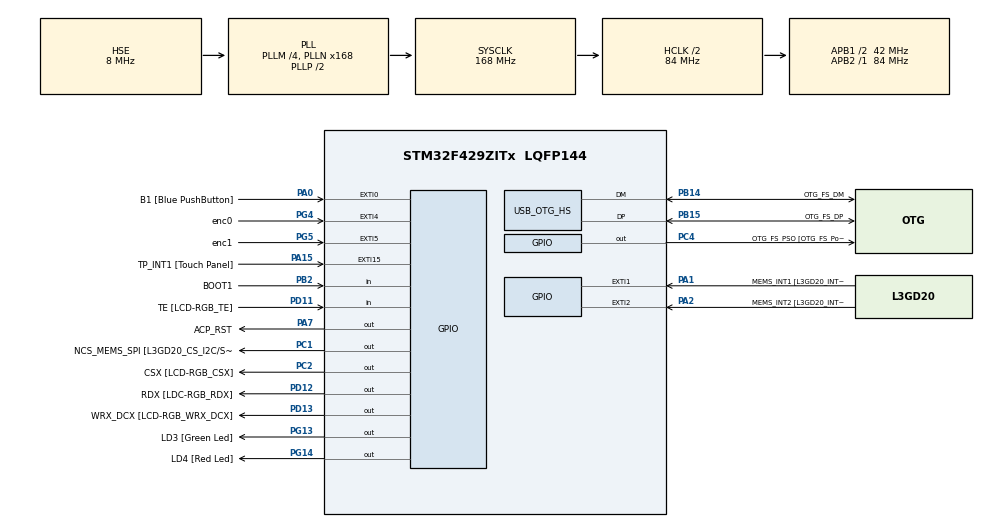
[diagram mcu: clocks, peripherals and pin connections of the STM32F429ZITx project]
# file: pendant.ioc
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Mcu.Family=STM32F4
Mcu.Name=STM32F429ZITx
Mcu.Package=LQFP144
NVIC.EXTI4_IRQn=true\:0\:0\:false\:false\:true\:true\:true
NVIC.EXTI9_5_IRQn=true\:0\:0\:false\:false\:true\:true\:true
NVIC.OTG_HS_IRQn=true\:0\:0\:false\:false\:true\:false\:true
NVIC.PriorityGroup=NVIC_PRIORITYGROUP_0
PA0/WKUP.GPIO_Label=B1 [Blue PushButton]
PA0/WKUP.GPIO_ModeDefaultEXTI=GPIO_MODE_EVT_RISING
PA0/WKUP.GPIO_PuPd=GPIO_NOPULL
PA0/WKUP.Signal=GPXTI0
PA1.GPIO_Label=MEMS_INT1 [L3GD20_INT1]
PA1.GPIO_ModeDefaultEXTI=GPIO_MODE_EVT_RISING
PA1.GPIO_PuPd=GPIO_NOPULL
PA1.Signal=GPXTI1
PA10.GPIO_Label=STLINK_TX [STM32F103CBT6_PA2]
PA10.Signal=USART1_RX
PA11.GPIO_Label=R4
PA11.GPIO_Mode=GPIO_MODE_AF_PP
PA11.GPIO_PuPd=GPIO_NOPULL
PA11.GPIO_Speed=GPIO_SPEED_FREQ_LOW
PA11.Signal=LTDC_R4
PA12.GPIO_Label=R5
PA12.GPIO_Mode=GPIO_MODE_AF_PP
PA12.GPIO_PuPd=GPIO_NOPULL
PA12.GPIO_Speed=GPIO_SPEED_FREQ_LOW
PA12.Signal=LTDC_R5
PA13.GPIO_Label=SWDIO
PA13.Signal=SYS_JTMS-SWDIO
PA14.GPIO_Label=SWCLK
PA14.Signal=SYS_JTCK-SWCLK
PA15.GPIO_Label=TP_INT1 [Touch Panel]
PA15.GPIO_ModeDefaultEXTI=GPIO_MODE_EVT_RISING
PA15.GPIO_PuPd=GPIO_NOPULL
PA15.Signal=GPXTI15
PA2.GPIO_Label=MEMS_INT2 [L3GD20_INT2]
PA2.GPIO_ModeDefaultEXTI=GPIO_MODE_EVT_RISING
PA2.GPIO_PuPd=GPIO_NOPULL
PA2.Signal=GPXTI2
PA3.GPIO_Label=B5
PA3.GPIO_Mode=GPIO_MODE_AF_PP
PA3.GPIO_PuPd=GPIO_NOPULL
PA3.GPIO_Speed=GPIO_SPEED_FREQ_LOW
PA3.Signal=LTDC_B5
PA4.GPIO_Label=VSYNC
PA4.GPIO_Mode=GPIO_MODE_AF_PP
PA4.GPIO_PuPd=GPIO_NOPULL
PA4.GPIO_Speed=GPIO_SPEED_FREQ_LOW
PA4.Signal=LTDC_VSYNC
PA6.GPIO_Label=G2
PA6.GPIO_Mode=GPIO_MODE_AF_PP
PA6.GPIO_PuPd=GPIO_NOPULL
PA6.GPIO_Speed=GPIO_SPEED_FREQ_LOW
PA6.Signal=LTDC_G2
PA7.GPIO_Label=ACP_RST
PA7.GPIO_Mode=GPIO_MODE_OUTPUT_PP
PA7.GPIO_PuPd=GPIO_NOPULL
PA7.GPIO_Speed=GPIO_SPEED_FREQ_LOW
PA7.Signal=GPIO_Output
PA8.GPIO_Label=I2C3_SCL [ACP/RF_SCL]
PA8.GPIO_Mode=GPIO_MODE_AF_OD
PA8.GPIO_PuPd=GPIO_NOPULL
PA8.GPIO_Speed=GPIO_SPEED_FREQ_LOW
PA8.Signal=I2C3_SCL
PA9.GPIO_Label=STLINK_RX [STM32F103CBT6_PA3]
PA9.Signal=USART1_TX
PB0.GPIO_Label=R3
PB0.GPIO_Mode=GPIO_MODE_AF_PP
PB0.GPIO_PuPd=GPIO_NOPULL
PB0.GPIO_Speed=GPIO_SPEED_FREQ_LOW
PB0.Signal=LTDC_R3
PB1.GPIO_Label=R6
PB1.GPIO_Mode=GPIO_MODE_AF_PP
PB1.GPIO_PuPd=GPIO_NOPULL
PB1.GPIO_Speed=GPIO_SPEED_FREQ_LOW
PB1.Signal=LTDC_R6
PB10.GPIO_Label=G4
PB10.GPIO_Mode=GPIO_MODE_AF_PP
PB10.GPIO_PuPd=GPIO_NOPULL
PB10.GPIO_Speed=GPIO_SPEED_FREQ_LOW
PB10.Signal=LTDC_G4
PB11.GPIO_Label=G5
PB11.GPIO_Mode=GPIO_MODE_AF_PP
PB11.GPIO_PuPd=GPIO_NOPULL
PB11.GPIO_Speed=GPIO_SPEED_FREQ_LOW
PB11.Signal=LTDC_G5
PB12.GPIO_Label=OTG_FS_ID
PB12.GPIO_Mode=GPIO_MODE_AF_PP
PB12.GPIO_PuPd=GPIO_NOPULL
PB12.GPIO_Speed=GPIO_SPEED_FREQ_LOW
PB12.Signal=USB_OTG_HS_ID
PB13.GPIO_Label=VBUS_FS
PB13.GPIO_Mode=GPIO_MODE_INPUT
PB13.GPIO_PuPd=GPIO_NOPULL
PB13.Signal=USB_OTG_HS_VBUS
PB14.GPIO_Label=OTG_FS_DM
PB14.GPIO_Mode=GPIO_MODE_AF_PP
PB14.GPIO_PuPd=GPIO_NOPULL
PB14.GPIO_Speed=GPIO_SPEED_FREQ_LOW
PB14.Mode=Device_Only_FS
PB14.Signal=USB_OTG_HS_DM
PB15.GPIO_Label=OTG_FS_DP
PB15.GPIO_Mode=GPIO_MODE_AF_PP
PB15.GPIO_PuPd=GPIO_NOPULL
PB15.GPIO_Speed=GPIO_SPEED_FREQ_LOW
PB15.Mode=Device_Only_FS
PB15.Signal=USB_OTG_HS_DP
PB2/BOOT1.GPIO_Label=BOOT1
PB2/BOOT1.GPIO_Mode=GPIO_MODE_INPUT
PB2/BOOT1.GPIO_PuPd=GPIO_NOPULL
PB2/BOOT1.Signal=GPIO_Input
PB5.GPIO_Label=SDCKE1
PB5.GPIO_Mode=GPIO_MODE_AF_PP
PB5.GPIO_PuPd=GPIO_NOPULL
PB5.GPIO_Speed=GPIO_SPEED_FREQ_VERY_HIGH
PB5.Signal=FMC_SDCKE1
PB6.GPIO_Label=SDNE1 [SDRAM_CS]
PB6.GPIO_Mode=GPIO_MODE_AF_PP
PB6.GPIO_PuPd=GPIO_NOPULL
PB6.GPIO_Speed=GPIO_SPEED_FREQ_VERY_HIGH
PB6.Signal=FMC_SDNE1
PB8.GPIO_Label=B6
PB8.GPIO_Mode=GPIO_MODE_AF_PP
PB8.GPIO_PuPd=GPIO_NOPULL
PB8.GPIO_Speed=GPIO_SPEED_FREQ_LOW
PB8.Signal=LTDC_B6
PB9.GPIO_Label=B7
PB9.GPIO_Mode=GPIO_MODE_AF_PP
PB9.GPIO_PuPd=GPIO_NOPULL
PB9.GPIO_Speed=GPIO_SPEED_FREQ_LOW
PB9.Signal=LTDC_B7
PC0.GPIO_Label=SDNWE
PC0.GPIO_Mode=GPIO_MODE_AF_PP
PC0.GPIO_PuPd=GPIO_NOPULL
PC0.GPIO_Speed=GPIO_SPEED_FREQ_VERY_HIGH
PC0.Signal=FMC_SDNWE
PC1.GPIO_Label=NCS_MEMS_SPI [L3GD20_CS_I2C/SPI]
PC1.GPIO_Mode=GPIO_MODE_OUTPUT_PP
PC1.GPIO_PuPd=GPIO_NOPULL
PC1.GPIO_Speed=GPIO_SPEED_FREQ_LOW
PC1.Signal=GPIO_Output
PC10.GPIO_Label=R2
PC10.GPIO_Mode=GPIO_MODE_AF_PP
PC10.GPIO_PuPd=GPIO_NOPULL
PC10.GPIO_Speed=GPIO_SPEED_FREQ_LOW
PC10.Signal=LTDC_R2
PC14/OSC32_IN.GPIO_Label=PC14-OSC32_IN
PC14/OSC32_IN.Signal=RCC_OSC32_IN
PC15/OSC32_OUT.GPIO_Label=PC15-OSC32_OUT
PC15/OSC32_OUT.Signal=RCC_OSC32_OUT
PC2.GPIO_Label=CSX [LCD-RGB_CSX]
PC2.GPIO_Mode=GPIO_MODE_OUTPUT_PP
PC2.GPIO_PuPd=GPIO_NOPULL
PC2.GPIO_Speed=GPIO_SPEED_FREQ_LOW
PC2.Signal=GPIO_Output
PC4.GPIO_Label=OTG_FS_PSO [OTG_FS_PowerSwitchOn]
PC4.GPIO_Mode=GPIO_MODE_OUTPUT_PP
PC4.GPIO_PuPd=GPIO_NOPULL
PC4.GPIO_Speed=GPIO_SPEED_FREQ_LOW
PC4.Signal=GPIO_Output
PC6.GPIO_Label=HSYNC
PC6.GPIO_Mode=GPIO_MODE_AF_PP
PC6.GPIO_PuPd=GPIO_NOPULL
PC6.GPIO_Speed=GPIO_SPEED_FREQ_LOW
PC6.Signal=LTDC_HSYNC
PC7.GPIO_Label=G6
PC7.GPIO_Mode=GPIO_MODE_AF_PP
PC7.GPIO_PuPd=GPIO_NOPULL
PC7.GPIO_Speed=GPIO_SPEED_FREQ_LOW
PC7.Signal=LTDC_G6
PC9.GPIO_Label=I2C3_SDA [ACP/RF_SDA]
PC9.GPIO_Mode=GPIO_MODE_AF_OD
PC9.GPIO_PuPd=GPIO_NOPULL
PC9.GPIO_Speed=GPIO_SPEED_FREQ_LOW
PC9.Signal=I2C3_SDA
PD0.GPIO_Label=D2
PD0.GPIO_Mode=GPIO_MODE_AF_PP
PD0.GPIO_PuPd=GPIO_NOPULL
PD0.GPIO_Speed=GPIO_SPEED_FREQ_VERY_HIGH
PD0.Signal=FMC_D2_DA2
PD1.GPIO_Label=D3
PD1.GPIO_Mode=GPIO_MODE_AF_PP
PD1.GPIO_PuPd=GPIO_NOPULL
PD1.GPIO_Speed=GPIO_SPEED_FREQ_VERY_HIGH
PD1.Signal=FMC_D3_DA3
PD10.GPIO_Label=D15
PD10.GPIO_Mode=GPIO_MODE_AF_PP
PD10.GPIO_PuPd=GPIO_NOPULL
PD10.GPIO_Speed=GPIO_SPEED_FREQ_VERY_HIGH
PD10.Signal=FMC_D15_DA15
PD11.GPIO_Label=TE [LCD-RGB_TE]
PD11.GPIO_Mode=GPIO_MODE_INPUT
PD11.GPIO_PuPd=GPIO_NOPULL
PD11.Signal=GPIO_Input
PD12.GPIO_Label=RDX [LDC-RGB_RDX]
PD12.GPIO_Mode=GPIO_MODE_OUTPUT_PP
PD12.GPIO_PuPd=GPIO_NOPULL
PD12.GPIO_Speed=GPIO_SPEED_FREQ_LOW
PD12.Signal=GPIO_Output
PD13.GPIO_Label=WRX_DCX [LCD-RGB_WRX_DCX]
PD13.GPIO_Mode=GPIO_MODE_OUTPUT_PP
PD13.GPIO_PuPd=GPIO_NOPULL
PD13.GPIO_Speed=GPIO_SPEED_FREQ_LOW
PD13.Signal=GPIO_Output
PD14.GPIO_Label=D0
PD14.GPIO_Mode=GPIO_MODE_AF_PP
PD14.GPIO_PuPd=GPIO_NOPULL
PD14.GPIO_Speed=GPIO_SPEED_FREQ_VERY_HIGH
PD14.Signal=FMC_D0_DA0
PD15.GPIO_Label=D1
PD15.GPIO_Mode=GPIO_MODE_AF_PP
PD15.GPIO_PuPd=GPIO_NOPULL
PD15.GPIO_Speed=GPIO_SPEED_FREQ_VERY_HIGH
PD15.Signal=FMC_D1_DA1
PD3.GPIO_Label=G7
PD3.GPIO_Mode=GPIO_MODE_AF_PP
PD3.GPIO_PuPd=GPIO_NOPULL
PD3.GPIO_Speed=GPIO_SPEED_FREQ_LOW
PD3.Signal=LTDC_G7
PD6.GPIO_Label=B2
PD6.GPIO_Mode=GPIO_MODE_AF_PP
PD6.GPIO_PuPd=GPIO_NOPULL
PD6.GPIO_Speed=GPIO_SPEED_FREQ_LOW
PD6.Signal=LTDC_B2
PD8.GPIO_Label=D13
PD8.GPIO_Mode=GPIO_MODE_AF_PP
PD8.GPIO_PuPd=GPIO_NOPULL
PD8.GPIO_Speed=GPIO_SPEED_FREQ_VERY_HIGH
PD8.Signal=FMC_D13_DA13
PD9.GPIO_Label=D14
PD9.GPIO_Mode=GPIO_MODE_AF_PP
PD9.GPIO_PuPd=GPIO_NOPULL
PD9.GPIO_Speed=GPIO_SPEED_FREQ_VERY_HIGH
PD9.Signal=FMC_D14_DA14
PE0.GPIO_Label=NBL0 [SDRAM_LDQM]
PE0.GPIO_Mode=GPIO_MODE_AF_PP
PE0.GPIO_PuPd=GPIO_NOPULL
PE0.GPIO_Speed=GPIO_SPEED_FREQ_VERY_HIGH
PE0.Signal=FMC_NBL0
PE1.GPIO_Label=NBL1 [SDRAM_UDQM]
PE1.GPIO_Mode=GPIO_MODE_AF_PP
PE1.GPIO_PuPd=GPIO_NOPULL
PE1.GPIO_Speed=GPIO_SPEED_FREQ_VERY_HIGH
PE1.Signal=FMC_NBL1
PE10.GPIO_Label=D7
PE10.GPIO_Mode=GPIO_MODE_AF_PP
PE10.GPIO_PuPd=GPIO_NOPULL
PE10.GPIO_Speed=GPIO_SPEED_FREQ_VERY_HIGH
PE10.Signal=FMC_D7_DA7
PE11.GPIO_Label=D8
PE11.GPIO_Mode=GPIO_MODE_AF_PP
PE11.GPIO_PuPd=GPIO_NOPULL
PE11.GPIO_Speed=GPIO_SPEED_FREQ_VERY_HIGH
PE11.Signal=FMC_D8_DA8
PE12.GPIO_Label=D9
PE12.GPIO_Mode=GPIO_MODE_AF_PP
PE12.GPIO_PuPd=GPIO_NOPULL
PE12.GPIO_Speed=GPIO_SPEED_FREQ_VERY_HIGH
PE12.Signal=FMC_D9_DA9
PE13.GPIO_Label=D10
PE13.GPIO_Mode=GPIO_MODE_AF_PP
PE13.GPIO_PuPd=GPIO_NOPULL
PE13.GPIO_Speed=GPIO_SPEED_FREQ_VERY_HIGH
PE13.Signal=FMC_D10_DA10
PE14.GPIO_Label=D11
PE14.GPIO_Mode=GPIO_MODE_AF_PP
PE14.GPIO_PuPd=GPIO_NOPULL
PE14.GPIO_Speed=GPIO_SPEED_FREQ_VERY_HIGH
PE14.Signal=FMC_D11_DA11
PE15.GPIO_Label=D12
PE15.GPIO_Mode=GPIO_MODE_AF_PP
PE15.GPIO_PuPd=GPIO_NOPULL
PE15.GPIO_Speed=GPIO_SPEED_FREQ_VERY_HIGH
PE15.Signal=FMC_D12_DA12
PE7.GPIO_Label=D4
PE7.GPIO_Mode=GPIO_MODE_AF_PP
PE7.GPIO_PuPd=GPIO_NOPULL
PE7.GPIO_Speed=GPIO_SPEED_FREQ_VERY_HIGH
PE7.Signal=FMC_D4_DA4
PE8.GPIO_Label=D5
PE8.GPIO_Mode=GPIO_MODE_AF_PP
PE8.GPIO_PuPd=GPIO_NOPULL
PE8.GPIO_Speed=GPIO_SPEED_FREQ_VERY_HIGH
PE8.Signal=FMC_D5_DA5
PE9.GPIO_Label=D6
PE9.GPIO_Mode=GPIO_MODE_AF_PP
PE9.GPIO_PuPd=GPIO_NOPULL
PE9.GPIO_Speed=GPIO_SPEED_FREQ_VERY_HIGH
PE9.Signal=FMC_D6_DA6
PF0.GPIO_Label=A0
PF0.GPIO_Mode=GPIO_MODE_AF_PP
PF0.GPIO_PuPd=GPIO_NOPULL
PF0.GPIO_Speed=GPIO_SPEED_FREQ_VERY_HIGH
PF0.Signal=FMC_A0
PF1.GPIO_Label=A1
PF1.GPIO_Mode=GPIO_MODE_AF_PP
PF1.GPIO_PuPd=GPIO_NOPULL
PF1.GPIO_Speed=GPIO_SPEED_FREQ_VERY_HIGH
PF1.Signal=FMC_A1
PF10.GPIO_Label=ENABLE [LCD-RGB_ENABLE]
PF10.GPIO_Mode=GPIO_MODE_AF_PP
PF10.GPIO_PuPd=GPIO_NOPULL
PF10.GPIO_Speed=GPIO_SPEED_FREQ_LOW
PF10.Signal=LTDC_DE
PF11.GPIO_Label=SDNRAS
PF11.GPIO_Mode=GPIO_MODE_AF_PP
PF11.GPIO_PuPd=GPIO_NOPULL
PF11.GPIO_Speed=GPIO_SPEED_FREQ_VERY_HIGH
PF11.Signal=FMC_SDNRAS
PF12.GPIO_Label=A6
PF12.GPIO_Mode=GPIO_MODE_AF_PP
PF12.GPIO_PuPd=GPIO_NOPULL
PF12.GPIO_Speed=GPIO_SPEED_FREQ_VERY_HIGH
PF12.Signal=FMC_A6
PF13.GPIO_Label=A7
PF13.GPIO_Mode=GPIO_MODE_AF_PP
PF13.GPIO_PuPd=GPIO_NOPULL
PF13.GPIO_Speed=GPIO_SPEED_FREQ_VERY_HIGH
PF13.Signal=FMC_A7
PF14.GPIO_Label=A8
PF14.GPIO_Mode=GPIO_MODE_AF_PP
PF14.GPIO_PuPd=GPIO_NOPULL
PF14.GPIO_Speed=GPIO_SPEED_FREQ_VERY_HIGH
PF14.Signal=FMC_A8
PF15.GPIO_Label=A9
PF15.GPIO_Mode=GPIO_MODE_AF_PP
PF15.GPIO_PuPd=GPIO_NOPULL
PF15.GPIO_Speed=GPIO_SPEED_FREQ_VERY_HIGH
PF15.Signal=FMC_A9
PF2.GPIO_Label=A2
PF2.GPIO_Mode=GPIO_MODE_AF_PP
PF2.GPIO_PuPd=GPIO_NOPULL
PF2.GPIO_Speed=GPIO_SPEED_FREQ_VERY_HIGH
PF2.Signal=FMC_A2
PF3.GPIO_Label=A3
PF3.GPIO_Mode=GPIO_MODE_AF_PP
PF3.GPIO_PuPd=GPIO_NOPULL
PF3.GPIO_Speed=GPIO_SPEED_FREQ_VERY_HIGH
PF3.Signal=FMC_A3
PF4.GPIO_Label=A4
PF4.GPIO_Mode=GPIO_MODE_AF_PP
PF4.GPIO_PuPd=GPIO_NOPULL
PF4.GPIO_Speed=GPIO_SPEED_FREQ_VERY_HIGH
PF4.Signal=FMC_A4
PF5.GPIO_Label=A5
PF5.GPIO_Mode=GPIO_MODE_AF_PP
PF5.GPIO_PuPd=GPIO_NOPULL
PF5.GPIO_Speed=GPIO_SPEED_FREQ_VERY_HIGH
PF5.Signal=FMC_A5
PF7.GPIO_Label=SPI5_SCK [L3GD20_SCL/SPC]
PF7.GPIO_Mode=GPIO_MODE_AF_PP
PF7.GPIO_PuPd=GPIO_NOPULL
PF7.GPIO_Speed=GPIO_SPEED_FREQ_LOW
PF7.Signal=SPI5_SCK
PF8.GPIO_Label=SPI5_MISO [L3GD20_SDO]
PF8.GPIO_Mode=GPIO_MODE_AF_PP
PF8.GPIO_PuPd=GPIO_NOPULL
PF8.GPIO_Speed=GPIO_SPEED_FREQ_LOW
PF8.Signal=SPI5_MISO
PF9.GPIO_Label=SPI5_MOSI [L3GD20_SDA/SDI/SDO]
PF9.GPIO_Mode=GPIO_MODE_AF_PP
PF9.GPIO_PuPd=GPIO_NOPULL
PF9.GPIO_Speed=GPIO_SPEED_FREQ_LOW
PF9.Signal=SPI5_MOSI
PG0.GPIO_Label=A10
PG0.GPIO_Mode=GPIO_MODE_AF_PP
PG0.GPIO_PuPd=GPIO_NOPULL
PG0.GPIO_Speed=GPIO_SPEED_FREQ_VERY_HIGH
PG0.Signal=FMC_A10
PG1.GPIO_Label=A11
PG1.GPIO_Mode=GPIO_MODE_AF_PP
PG1.GPIO_PuPd=GPIO_NOPULL
PG1.GPIO_Speed=GPIO_SPEED_FREQ_VERY_HIGH
PG1.Signal=FMC_A11
PG10.GPIO_Label=G3
PG10.GPIO_Mode=GPIO_MODE_AF_PP
PG10.GPIO_PuPd=GPIO_NOPULL
PG10.GPIO_Speed=GPIO_SPEED_FREQ_LOW
PG10.Signal=LTDC_G3
PG11.GPIO_Label=B3
PG11.GPIO_Mode=GPIO_MODE_AF_PP
PG11.GPIO_PuPd=GPIO_NOPULL
PG11.GPIO_Speed=GPIO_SPEED_FREQ_LOW
PG11.Signal=LTDC_B3
PG12.GPIO_Label=B4
PG12.GPIO_Mode=GPIO_MODE_AF_PP
PG12.GPIO_PuPd=GPIO_NOPULL
PG12.GPIO_Speed=GPIO_SPEED_FREQ_LOW
PG12.Signal=LTDC_B4
PG13.GPIO_Label=LD3 [Green Led]
PG13.GPIO_Mode=GPIO_MODE_OUTPUT_PP
PG13.GPIO_PuPd=GPIO_NOPULL
PG13.GPIO_Speed=GPIO_SPEED_FREQ_LOW
PG13.Signal=GPIO_Output
PG14.GPIO_Label=LD4 [Red Led]
PG14.GPIO_Mode=GPIO_MODE_OUTPUT_PP
PG14.GPIO_PuPd=GPIO_NOPULL
PG14.GPIO_Speed=GPIO_SPEED_FREQ_LOW
PG14.Signal=GPIO_Output
PG15.GPIO_Label=SDNCAS
PG15.GPIO_Mode=GPIO_MODE_AF_PP
PG15.GPIO_PuPd=GPIO_NOPULL
PG15.GPIO_Speed=GPIO_SPEED_FREQ_VERY_HIGH
PG15.Signal=FMC_SDNCAS
PG4.GPIO_Label=enc0
PG4.GPIO_PuPd=GPIO_PULLDOWN
PG4.Signal=GPXTI4
PG5.GPIO_Label=enc1
PG5.GPIO_PuPd=GPIO_PULLDOWN
PG5.Signal=GPXTI5
PG6.GPIO_Label=R7
PG6.GPIO_Mode=GPIO_MODE_AF_PP
PG6.GPIO_PuPd=GPIO_NOPULL
PG6.GPIO_Speed=GPIO_SPEED_FREQ_LOW
PG6.Signal=LTDC_R7
PG7.GPIO_Label=DOTCLK [LCT-RGB_DOTCLK]
PG7.GPIO_Mode=GPIO_MODE_AF_PP
PG7.GPIO_PuPd=GPIO_NOPULL
PG7.GPIO_Speed=GPIO_SPEED_FREQ_LOW
PG7.Signal=LTDC_CLK
PG8.GPIO_Label=SDCLK
PG8.GPIO_Mode=GPIO_MODE_AF_PP
PG8.GPIO_PuPd=GPIO_NOPULL
PG8.GPIO_Speed=GPIO_SPEED_FREQ_VERY_HIGH
PG8.Signal=FMC_SDCLK
PH0/OSC_IN.GPIO_Label=PH0-OSC_IN
PH0/OSC_IN.Mode=HSE-External-Oscillator
PH0/OSC_IN.Signal=RCC_OSC_IN
PH1/OSC_OUT.GPIO_Label=PH1-OSC_OUT
PH1/OSC_OUT.Mode=HSE-External-Oscillator
PH1/OSC_OUT.Signal=RCC_OSC_OUT
ProjectManager.HeapSize=0x2000
ProjectManager.StackSize=0x400
ProjectManager.TargetToolchain=STM32CubeIDE
RCC.48MHZClocksFreq_Value=48000000
RCC.AHBCLKDivider=RCC_SYSCLK_DIV2
RCC.AHBFreq_Value=84000000
RCC.APB1CLKDivider=RCC_HCLK_DIV2
RCC.APB1Freq_Value=42000000
RCC.APB1TimFreq_Value=84000000
RCC.APB2Freq_Value=84000000
RCC.APB2TimFreq_Value=84000000
RCC.CortexFreq_Value=84000000
RCC.HCLKFreq_Value=84000000
RCC.HSE_VALUE=8000000
RCC.HSI_VALUE=16000000
RCC.LSE_VALUE=32768
RCC.PLLM=4
RCC.PLLN=168
RCC.PLLQ=7
RCC.SYSCLKFreq_VALUE=168000000
RCC.SYSCLKSource=RCC_SYSCLKSOURCE_PLLCLK
RCC.VCOOutputFreq_Value=336000000
SH.FMC_A0.0=FMC_A0
SH.FMC_A1.0=FMC_A1
SH.FMC_A10.0=FMC_A10
SH.FMC_A11.0=FMC_A11
SH.FMC_A2.0=FMC_A2
SH.FMC_A3.0=FMC_A3
SH.FMC_A4.0=FMC_A4
SH.FMC_A5.0=FMC_A5
SH.FMC_A6.0=FMC_A6
SH.FMC_A7.0=FMC_A7
SH.FMC_A8.0=FMC_A8
SH.FMC_A9.0=FMC_A9
SH.FMC_D0_DA0.0=FMC_D0
SH.FMC_D10_DA10.0=FMC_D10
SH.FMC_D11_DA11.0=FMC_D11
SH.FMC_D12_DA12.0=FMC_D12
SH.FMC_D13_DA13.0=FMC_D13
SH.FMC_D14_DA14.0=FMC_D14
SH.FMC_D15_DA15.0=FMC_D15
SH.FMC_D1_DA1.0=FMC_D1
SH.FMC_D2_DA2.0=FMC_D2
SH.FMC_D3_DA3.0=FMC_D3
SH.FMC_D4_DA4.0=FMC_D4
SH.FMC_D5_DA5.0=FMC_D5
SH.FMC_D6_DA6.0=FMC_D6
SH.FMC_D7_DA7.0=FMC_D7
SH.FMC_D8_DA8.0=FMC_D8
SH.FMC_D9_DA9.0=FMC_D9
SH.FMC_NBL0.0=FMC_NBL0
SH.FMC_NBL1.0=FMC_NBL1
SH.FMC_SDCLK.0=FMC_SDCLK
SH.FMC_SDNCAS.0=FMC_SDNCAS
SH.FMC_SDNRAS.0=FMC_SDNRAS
SH.FMC_SDNWE.0=FMC_SDNWE
USB_DEVICE.CLASS_NAME_HS=CDC
USB_DEVICE.VirtualMode-CDC_HS=Cdc
USB_DEVICE.VirtualModeHS=Cdc_HS
USB_OTG_HS.VirtualMode-Device_Only_FS=Device_Only_FS
VP_USB_DEVICE_VS_USB_DEVICE_CDC_HS.Mode=CDC_HS
board=STM32F429I-DISC1

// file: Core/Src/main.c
/* USER CODE BEGIN Header */
/**
  ******************************************************************************
  * @file           : main.c
  * @brief          : Main program body
  ******************************************************************************
  * @attention
  *
  * <h2><center>&copy; Copyright (c) 2020 STMicroelectronics.
  * All rights reserved.</center></h2>
  *
  * This software component is licensed by ST under Ultimate Liberty license
  * SLA0044, the "License"; You may not use this file except in compliance with
  * the License. You may obtain a copy of the License at:
  *                             www.st.com/SLA0044
  *
  ******************************************************************************
  */
/* USER CODE END Header */

#include "main.h"
#include "usb_device.h"

/* USER CODE BEGIN Includes */
#include "usbd_cdc_if.h"
#include <string.h>
/* USER CODE END Includes */

/* USER CODE BEGIN PV */
const char version[10] ="0.2";
#define SIZE_OF_BUFFER 10
#define MSG_LENGTH 20
int rxBufferLength = 0;  // how many items currently in
int readIndex = 0;     // next place to read from
int writeIndex = 0;    // next place to write to
char rxCircularBuffer[SIZE_OF_BUFFER][MSG_LENGTH];  // buffer of strings
const char s[2] = ";";

int connected = 0;
int wheel = 0;
int last_wheel = 0;
int incr = 100;  // 1 = 0.0001 inch
int axis = 0;
extern USBD_HandleTypeDef hUsbDeviceHS;
/* USER CODE END PV */

void SystemClock_Config(void);
static void MX_GPIO_Init(void);
/* USER CODE BEGIN PFP */
void send_back(char* cmd)
{
	while(((USBD_CDC_HandleTypeDef*)(hUsbDeviceHS.pClassData))->TxState!=0);
	CDC_Transmit_HS((uint8_t*)cmd, strlen((char *)cmd));
    HAL_GPIO_TogglePin(LD4_GPIO_Port, LD4_Pin);
}

uint8_t process_command(char* cmd)
{

	int c1;
	char buffer[MSG_LENGTH];

	c1 = atoi(strtok(cmd, " "));
//    c2 = atoi(strtok(NULL,  " "));
//    c3 = atoi(strtok(NULL,  " "));

    if (c1 == 990)  // connection check
    {
    	connected = 1;
    	send_back("Pendant\r\n");
    }
    else if (c1 == 991)  // fw version
    {
    	snprintf(buffer, sizeof(buffer), "%s\r\n", version);
    	send_back(buffer);
    }
    else if (c1 == 993) // codes requested
    {
    	snprintf(buffer, sizeof(buffer), "%s\r\n", version);
    	send_back(buffer);
    }

    else
    {
    	return 1;
    }
    return 0;
}
/* USER CODE END PFP */

int main(void)
{

  /* MCU Configuration--------------------------------------------------------*/

  /* Reset of all peripherals, Initializes the Flash interface and the Systick. */
  HAL_Init();

  /* Configure the system clock */
  SystemClock_Config();

  /* Initialize all configured peripherals */
  MX_GPIO_Init();
  MX_USB_DEVICE_Init();
  /* USER CODE BEGIN 2 */
  int last_but = 0;
    HAL_GPIO_WritePin(OTG_FS_PSO_GPIO_Port, OTG_FS_PSO_Pin, 0);
  /* USER CODE END 2 */

  /* Infinite loop */
  while (1)
  {

    /* USER CODE BEGIN 3 */

		if (last_wheel != wheel)
		{
		  char buffer[MSG_LENGTH];

		  HAL_GPIO_TogglePin(LD3_GPIO_Port, LD3_Pin);
		  if (last_wheel > wheel)
		  {
			  snprintf(buffer, sizeof(buffer), "112 %d -%d\r\n", axis, incr);
		  }
		  else
		  {
			  snprintf(buffer, sizeof(buffer), "112 %d %d\r\n", axis, incr);
		  }
		  send_back(buffer);

		  last_wheel = wheel;
		}

		int but = HAL_GPIO_ReadPin(B1_GPIO_Port, B1_Pin);
		if (but != last_but)
		{
			last_but = but;
			if (but == 1)
			{
				if (axis == 1)
				{
					axis = 2;
				}
				else if (axis == 2)
				{
					axis = 0;
				}
				else if (axis == 0)
				{
					axis = 1;
				}

				//if (incr == 1)
//				{
//					incr = 10;
//				}
//				else if (incr == 10)
//				{
//					incr = 100;
//				}
//				else if (incr == 100)
//				{
//					incr = 1000;
//				}
//				else if (incr == 1000)
//				{
//					incr = 1;
//				}

//				send_back("111 0 1\r\n");
			}
//			else
//			{
//				incr = incr
//				send_back("111 0 0\r\n");
//			}
		}

		while (rxBufferLength > 0)
		  {
			  process_command(rxCircularBuffer[readIndex]);
			  //send_back(rxCircularBuffer[readIndex]);
			  rxBufferLength--;
			  readIndex++;

			  if (readIndex == SIZE_OF_BUFFER) {
				  readIndex = 0;
			  }
		  }

  }
  /* USER CODE END 3 */
}

void SystemClock_Config(void)
{
  RCC_OscInitTypeDef RCC_OscInitStruct = {0};
  RCC_ClkInitTypeDef RCC_ClkInitStruct = {0};

  /** Configure the main internal regulator output voltage
  */
  __HAL_RCC_PWR_CLK_ENABLE();
  __HAL_PWR_VOLTAGESCALING_CONFIG(PWR_REGULATOR_VOLTAGE_SCALE3);
  /** Initializes the CPU, AHB and APB busses clocks
  */
  RCC_OscInitStruct.OscillatorType = RCC_OSCILLATORTYPE_HSE;
  RCC_OscInitStruct.HSEState = RCC_HSE_ON;
  RCC_OscInitStruct.PLL.PLLState = RCC_PLL_ON;
  RCC_OscInitStruct.PLL.PLLSource = RCC_PLLSOURCE_HSE;
  RCC_OscInitStruct.PLL.PLLM = 4;
  RCC_OscInitStruct.PLL.PLLN = 168;
  RCC_OscInitStruct.PLL.PLLP = RCC_PLLP_DIV2;
  RCC_OscInitStruct.PLL.PLLQ = 7;
  if (HAL_RCC_OscConfig(&RCC_OscInitStruct) != HAL_OK)
  {
    Error_Handler();
  }
  /** Initializes the CPU, AHB and APB busses clocks
  */
  RCC_ClkInitStruct.ClockType = RCC_CLOCKTYPE_HCLK|RCC_CLOCKTYPE_SYSCLK
                              |RCC_CLOCKTYPE_PCLK1|RCC_CLOCKTYPE_PCLK2;
  RCC_ClkInitStruct.SYSCLKSource = RCC_SYSCLKSOURCE_PLLCLK;
  RCC_ClkInitStruct.AHBCLKDivider = RCC_SYSCLK_DIV2;
  RCC_ClkInitStruct.APB1CLKDivider = RCC_HCLK_DIV2;
  RCC_ClkInitStruct.APB2CLKDivider = RCC_HCLK_DIV1;

  if (HAL_RCC_ClockConfig(&RCC_ClkInitStruct, FLASH_LATENCY_2) != HAL_OK)
  {
    Error_Handler();
  }
}

static void MX_GPIO_Init(void)
{
  GPIO_InitTypeDef GPIO_InitStruct = {0};

  /* GPIO Ports Clock Enable */
  __HAL_RCC_GPIOC_CLK_ENABLE();
  __HAL_RCC_GPIOF_CLK_ENABLE();
  __HAL_RCC_GPIOH_CLK_ENABLE();
  __HAL_RCC_GPIOA_CLK_ENABLE();
  __HAL_RCC_GPIOB_CLK_ENABLE();
  __HAL_RCC_GPIOG_CLK_ENABLE();
  __HAL_RCC_GPIOE_CLK_ENABLE();
  __HAL_RCC_GPIOD_CLK_ENABLE();

  /*Configure GPIO pin Output Level */
  HAL_GPIO_WritePin(GPIOC, NCS_MEMS_SPI_Pin|CSX_Pin|OTG_FS_PSO_Pin, GPIO_PIN_RESET);

  /*Configure GPIO pin Output Level */
  HAL_GPIO_WritePin(ACP_RST_GPIO_Port, ACP_RST_Pin, GPIO_PIN_RESET);

  /*Configure GPIO pin Output Level */
  HAL_GPIO_WritePin(GPIOD, RDX_Pin|WRX_DCX_Pin, GPIO_PIN_RESET);

  /*Configure GPIO pin Output Level */
  HAL_GPIO_WritePin(GPIOG, LD3_Pin|LD4_Pin, GPIO_PIN_RESET);

  /*Configure GPIO pins : A0_Pin A1_Pin A2_Pin A3_Pin
                           A4_Pin A5_Pin SDNRAS_Pin A6_Pin
                           A7_Pin A8_Pin A9_Pin */
  GPIO_InitStruct.Pin = A0_Pin|A1_Pin|A2_Pin|A3_Pin
                          |A4_Pin|A5_Pin|SDNRAS_Pin|A6_Pin
                          |A7_Pin|A8_Pin|A9_Pin;
  GPIO_InitStruct.Mode = GPIO_MODE_AF_PP;
  GPIO_InitStruct.Pull = GPIO_NOPULL;
  GPIO_InitStruct.Speed = GPIO_SPEED_FREQ_VERY_HIGH;
  GPIO_InitStruct.Alternate = GPIO_AF12_FMC;
  HAL_GPIO_Init(GPIOF, &GPIO_InitStruct);

  /*Configure GPIO pins : SPI5_SCK_Pin SPI5_MISO_Pin SPI5_MOSI_Pin */
  GPIO_InitStruct.Pin = SPI5_SCK_Pin|SPI5_MISO_Pin|SPI5_MOSI_Pin;
  GPIO_InitStruct.Mode = GPIO_MODE_AF_PP;
  GPIO_InitStruct.Pull = GPIO_NOPULL;
  GPIO_InitStruct.Speed = GPIO_SPEED_FREQ_LOW;
  GPIO_InitStruct.Alternate = GPIO_AF5_SPI5;
  HAL_GPIO_Init(GPIOF, &GPIO_InitStruct);

  /*Configure GPIO pin : ENABLE_Pin */
  GPIO_InitStruct.Pin = ENABLE_Pin;
  GPIO_InitStruct.Mode = GPIO_MODE_AF_PP;
  GPIO_InitStruct.Pull = GPIO_NOPULL;
  GPIO_InitStruct.Speed = GPIO_SPEED_FREQ_LOW;
  GPIO_InitStruct.Alternate = GPIO_AF14_LTDC;
  HAL_GPIO_Init(ENABLE_GPIO_Port, &GPIO_InitStruct);

  /*Configure GPIO pin : SDNWE_Pin */
  GPIO_InitStruct.Pin = SDNWE_Pin;
  GPIO_InitStruct.Mode = GPIO_MODE_AF_PP;
  GPIO_InitStruct.Pull = GPIO_NOPULL;
  GPIO_InitStruct.Speed = GPIO_SPEED_FREQ_VERY_HIGH;
  GPIO_InitStruct.Alternate = GPIO_AF12_FMC;
  HAL_GPIO_Init(SDNWE_GPIO_Port, &GPIO_InitStruct);

  /*Configure GPIO pins : NCS_MEMS_SPI_Pin CSX_Pin OTG_FS_PSO_Pin */
  GPIO_InitStruct.Pin = NCS_MEMS_SPI_Pin|CSX_Pin|OTG_FS_PSO_Pin;
  GPIO_InitStruct.Mode = GPIO_MODE_OUTPUT_PP;
  GPIO_InitStruct.Pull = GPIO_NOPULL;
  GPIO_InitStruct.Speed = GPIO_SPEED_FREQ_LOW;
  HAL_GPIO_Init(GPIOC, &GPIO_InitStruct);

  /*Configure GPIO pins : B1_Pin MEMS_INT1_Pin MEMS_INT2_Pin TP_INT1_Pin */
  GPIO_InitStruct.Pin = B1_Pin|MEMS_INT1_Pin|MEMS_INT2_Pin|TP_INT1_Pin;
  GPIO_InitStruct.Mode = GPIO_MODE_EVT_RISING;
  GPIO_InitStruct.Pull = GPIO_NOPULL;
  HAL_GPIO_Init(GPIOA, &GPIO_InitStruct);

  /*Configure GPIO pins : B5_Pin VSYNC_Pin G2_Pin R4_Pin
                           R5_Pin */
  GPIO_InitStruct.Pin = B5_Pin|VSYNC_Pin|G2_Pin|R4_Pin
                          |R5_Pin;
  GPIO_InitStruct.Mode = GPIO_MODE_AF_PP;
  GPIO_InitStruct.Pull = GPIO_NOPULL;
  GPIO_InitStruct.Speed = GPIO_SPEED_FREQ_LOW;
  GPIO_InitStruct.Alternate = GPIO_AF14_LTDC;
  HAL_GPIO_Init(GPIOA, &GPIO_InitStruct);

  /*Configure GPIO pin : ACP_RST_Pin */
  GPIO_InitStruct.Pin = ACP_RST_Pin;
  GPIO_InitStruct.Mode = GPIO_MODE_OUTPUT_PP;
  GPIO_InitStruct.Pull = GPIO_NOPULL;
  GPIO_InitStruct.Speed = GPIO_SPEED_FREQ_LOW;
  HAL_GPIO_Init(ACP_RST_GPIO_Port, &GPIO_InitStruct);

  /*Configure GPIO pins : R3_Pin R6_Pin */
  GPIO_InitStruct.Pin = R3_Pin|R6_Pin;
  GPIO_InitStruct.Mode = GPIO_MODE_AF_PP;
  GPIO_InitStruct.Pull = GPIO_NOPULL;
  GPIO_InitStruct.Speed = GPIO_SPEED_FREQ_LOW;
  GPIO_InitStruct.Alternate = GPIO_AF9_LTDC;
  HAL_GPIO_Init(GPIOB, &GPIO_InitStruct);

  /*Configure GPIO pin : BOOT1_Pin */
  GPIO_InitStruct.Pin = BOOT1_Pin;
  GPIO_InitStruct.Mode = GPIO_MODE_INPUT;
  GPIO_InitStruct.Pull = GPIO_NOPULL;
  HAL_GPIO_Init(BOOT1_GPIO_Port, &GPIO_InitStruct);

  /*Configure GPIO pins : A10_Pin A11_Pin SDCLK_Pin SDNCAS_Pin */
  GPIO_InitStruct.Pin = A10_Pin|A11_Pin|SDCLK_Pin|SDNCAS_Pin;
  GPIO_InitStruct.Mode = GPIO_MODE_AF_PP;
  GPIO_InitStruct.Pull = GPIO_NOPULL;
  GPIO_InitStruct.Speed = GPIO_SPEED_FREQ_VERY_HIGH;
  GPIO_InitStruct.Alternate = GPIO_AF12_FMC;
  HAL_GPIO_Init(GPIOG, &GPIO_InitStruct);

  /*Configure GPIO pins : D4_Pin D5_Pin D6_Pin D7_Pin
                           D8_Pin D9_Pin D10_Pin D11_Pin
                           D12_Pin NBL0_Pin NBL1_Pin */
  GPIO_InitStruct.Pin = D4_Pin|D5_Pin|D6_Pin|D7_Pin
                          |D8_Pin|D9_Pin|D10_Pin|D11_Pin
                          |D12_Pin|NBL0_Pin|NBL1_Pin;
  GPIO_InitStruct.Mode = GPIO_MODE_AF_PP;
  GPIO_InitStruct.Pull = GPIO_NOPULL;
  GPIO_InitStruct.Speed = GPIO_SPEED_FREQ_VERY_HIGH;
  GPIO_InitStruct.Alternate = GPIO_AF12_FMC;
  HAL_GPIO_Init(GPIOE, &GPIO_InitStruct);

  /*Configure GPIO pins : G4_Pin G5_Pin B6_Pin B7_Pin */
  GPIO_InitStruct.Pin = G4_Pin|G5_Pin|B6_Pin|B7_Pin;
  GPIO_InitStruct.Mode = GPIO_MODE_AF_PP;
  GPIO_InitStruct.Pull = GPIO_NOPULL;
  GPIO_InitStruct.Speed = GPIO_SPEED_FREQ_LOW;
  GPIO_InitStruct.Alternate = GPIO_AF14_LTDC;
  HAL_GPIO_Init(GPIOB, &GPIO_InitStruct);

  /*Configure GPIO pins : D13_Pin D14_Pin D15_Pin D0_Pin
                           D1_Pin D2_Pin D3_Pin */
  GPIO_InitStruct.Pin = D13_Pin|D14_Pin|D15_Pin|D0_Pin
                          |D1_Pin|D2_Pin|D3_Pin;
  GPIO_InitStruct.Mode = GPIO_MODE_AF_PP;
  GPIO_InitStruct.Pull = GPIO_NOPULL;
  GPIO_InitStruct.Speed = GPIO_SPEED_FREQ_VERY_HIGH;
  GPIO_InitStruct.Alternate = GPIO_AF12_FMC;
  HAL_GPIO_Init(GPIOD, &GPIO_InitStruct);

  /*Configure GPIO pin : TE_Pin */
  GPIO_InitStruct.Pin = TE_Pin;
  GPIO_InitStruct.Mode = GPIO_MODE_INPUT;
  GPIO_InitStruct.Pull = GPIO_NOPULL;
  HAL_GPIO_Init(TE_GPIO_Port, &GPIO_InitStruct);

  /*Configure GPIO pins : RDX_Pin WRX_DCX_Pin */
  GPIO_InitStruct.Pin = RDX_Pin|WRX_DCX_Pin;
  GPIO_InitStruct.Mode = GPIO_MODE_OUTPUT_PP;
  GPIO_InitStruct.Pull = GPIO_NOPULL;
  GPIO_InitStruct.Speed = GPIO_SPEED_FREQ_LOW;
  HAL_GPIO_Init(GPIOD, &GPIO_InitStruct);

  /*Configure GPIO pins : enc0_Pin enc1_Pin */
  GPIO_InitStruct.Pin = enc0_Pin|enc1_Pin;
  GPIO_InitStruct.Mode = GPIO_MODE_IT_RISING;
  GPIO_InitStruct.Pull = GPIO_PULLDOWN;
  HAL_GPIO_Init(GPIOG, &GPIO_InitStruct);

  /*Configure GPIO pins : R7_Pin DOTCLK_Pin B3_Pin */
  GPIO_InitStruct.Pin = R7_Pin|DOTCLK_Pin|B3_Pin;
  GPIO_InitStruct.Mode = GPIO_MODE_AF_PP;
  GPIO_InitStruct.Pull = GPIO_NOPULL;
  GPIO_InitStruct.Speed = GPIO_SPEED_FREQ_LOW;
  GPIO_InitStruct.Alternate = GPIO_AF14_LTDC;
  HAL_GPIO_Init(GPIOG, &GPIO_InitStruct);

  /*Configure GPIO pins : HSYNC_Pin G6_Pin R2_Pin */
  GPIO_InitStruct.Pin = HSYNC_Pin|G6_Pin|R2_Pin;
  GPIO_InitStruct.Mode = GPIO_MODE_AF_PP;
  GPIO_InitStruct.Pull = GPIO_NOPULL;
  GPIO_InitStruct.Speed = GPIO_SPEED_FREQ_LOW;
  GPIO_InitStruct.Alternate = GPIO_AF14_LTDC;
  HAL_GPIO_Init(GPIOC, &GPIO_InitStruct);

  /*Configure GPIO pin : I2C3_SDA_Pin */
  GPIO_InitStruct.Pin = I2C3_SDA_Pin;
  GPIO_InitStruct.Mode = GPIO_MODE_AF_OD;
  GPIO_InitStruct.Pull = GPIO_PULLUP;
  GPIO_InitStruct.Speed = GPIO_SPEED_FREQ_LOW;
  GPIO_InitStruct.Alternate = GPIO_AF4_I2C3;
  HAL_GPIO_Init(I2C3_SDA_GPIO_Port, &GPIO_InitStruct);

  /*Configure GPIO pin : I2C3_SCL_Pin */
  GPIO_InitStruct.Pin = I2C3_SCL_Pin;
  GPIO_InitStruct.Mode = GPIO_MODE_AF_OD;
  GPIO_InitStruct.Pull = GPIO_PULLUP;
  GPIO_InitStruct.Speed = GPIO_SPEED_FREQ_LOW;
  GPIO_InitStruct.Alternate = GPIO_AF4_I2C3;
  HAL_GPIO_Init(I2C3_SCL_GPIO_Port, &GPIO_InitStruct);

  /*Configure GPIO pins : STLINK_RX_Pin STLINK_TX_Pin */
  GPIO_InitStruct.Pin = STLINK_RX_Pin|STLINK_TX_Pin;
  GPIO_InitStruct.Mode = GPIO_MODE_AF_PP;
  GPIO_InitStruct.Pull = GPIO_NOPULL;
  GPIO_InitStruct.Speed = GPIO_SPEED_FREQ_VERY_HIGH;
  GPIO_InitStruct.Alternate = GPIO_AF7_USART1;
  HAL_GPIO_Init(GPIOA, &GPIO_InitStruct);

  /*Configure GPIO pins : G7_Pin B2_Pin */
  GPIO_InitStruct.Pin = G7_Pin|B2_Pin;
  GPIO_InitStruct.Mode = GPIO_MODE_AF_PP;
  GPIO_InitStruct.Pull = GPIO_NOPULL;
  GPIO_InitStruct.Speed = GPIO_SPEED_FREQ_LOW;
  GPIO_InitStruct.Alternate = GPIO_AF14_LTDC;
  HAL_GPIO_Init(GPIOD, &GPIO_InitStruct);

  /*Configure GPIO pins : G3_Pin B4_Pin */
  GPIO_InitStruct.Pin = G3_Pin|B4_Pin;
  GPIO_InitStruct.Mode = GPIO_MODE_AF_PP;
  GPIO_InitStruct.Pull = GPIO_NOPULL;
  GPIO_InitStruct.Speed = GPIO_SPEED_FREQ_LOW;
  GPIO_InitStruct.Alternate = GPIO_AF9_LTDC;
  HAL_GPIO_Init(GPIOG, &GPIO_InitStruct);

  /*Configure GPIO pins : LD3_Pin LD4_Pin */
  GPIO_InitStruct.Pin = LD3_Pin|LD4_Pin;
  GPIO_InitStruct.Mode = GPIO_MODE_OUTPUT_PP;
  GPIO_InitStruct.Pull = GPIO_NOPULL;
  GPIO_InitStruct.Speed = GPIO_SPEED_FREQ_LOW;
  HAL_GPIO_Init(GPIOG, &GPIO_InitStruct);

  /*Configure GPIO pins : SDCKE1_Pin SDNE1_Pin */
  GPIO_InitStruct.Pin = SDCKE1_Pin|SDNE1_Pin;
  GPIO_InitStruct.Mode = GPIO_MODE_AF_PP;
  GPIO_InitStruct.Pull = GPIO_NOPULL;
  GPIO_InitStruct.Speed = GPIO_SPEED_FREQ_VERY_HIGH;
  GPIO_InitStruct.Alternate = GPIO_AF12_FMC;
  HAL_GPIO_Init(GPIOB, &GPIO_InitStruct);

  /* EXTI interrupt init*/
  HAL_NVIC_SetPriority(EXTI4_IRQn, 0, 0);
  HAL_NVIC_EnableIRQ(EXTI4_IRQn);

  HAL_NVIC_SetPriority(EXTI9_5_IRQn, 0, 0);
  HAL_NVIC_EnableIRQ(EXTI9_5_IRQn);

}

/* USER CODE BEGIN 4 */
void CDC_ReceiveCallBack (uint8_t* Buf, uint32_t Len)
{

    char copy[Len+1];  // copy the input data so that we can strtok from it
    memcpy(copy, (const char*)Buf, Len);
    copy[Len] = '\0';  // make it a string

	char *token;
	token = strtok((char *)copy, s);

	while( token != NULL )
	{
		if (rxBufferLength == SIZE_OF_BUFFER)
		{
			send_back("Full!\r\n");
			return;
		}
	    strcpy(rxCircularBuffer[writeIndex], (const char *)token);
		rxBufferLength++;
		writeIndex++;

	    if (writeIndex == SIZE_OF_BUFFER)
	    {
	    	writeIndex = 0;
	    }

	    token = strtok(NULL, s);
	}

}

HAL_GPIO_EXTI_Callback(uint16_t GPIO_PIN)
{
	if (GPIO_PIN == enc0_Pin)
	{
		if(HAL_GPIO_ReadPin(enc0_GPIO_Port, enc0_Pin) != HAL_GPIO_ReadPin(enc1_GPIO_Port, enc1_Pin))
		{
			wheel ++;
		}
		else
		{
			wheel --;
		}
	}
	else if (GPIO_PIN == enc1_Pin)
	{
		if(HAL_GPIO_ReadPin(enc0_GPIO_Port, enc0_Pin) == HAL_GPIO_ReadPin(enc1_GPIO_Port, enc1_Pin))
		{
			wheel ++;
		}
		else
		{
			wheel --;
		}
	}
}
/* USER CODE END 4 */

void Error_Handler(void)
{
}

/************************ (C) COPYRIGHT STMicroelectronics *****END OF FILE****/
